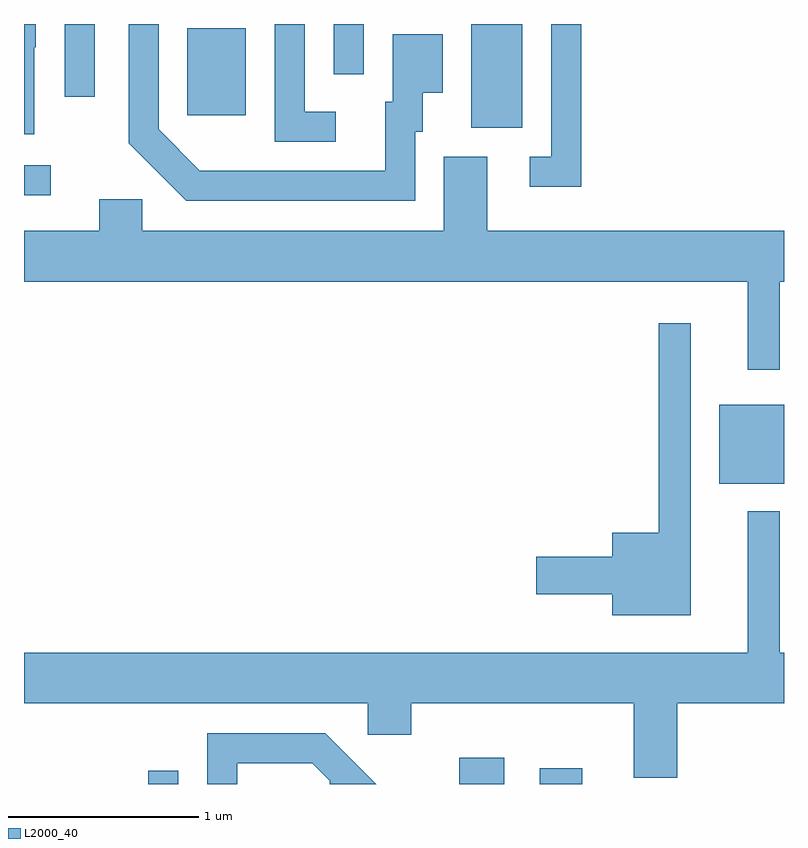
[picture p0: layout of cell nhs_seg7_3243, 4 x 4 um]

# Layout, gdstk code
import gdstk
lib = gdstk.Library(unit=1e-6, precision=1e-09)
def R(c, l, rs):  # rectangles x0, y0, x1, y1
    for r in rs: c.add(gdstk.rectangle(r[:2], r[2:], *l))
def P(c, l, *ps):  # polygons
    for p in ps: c.add(gdstk.Polygon(p, *l))
L2000_40 = (2000, 40)

nhs_seg7_3243 = lib.new_cell('nhs_seg7_3243')
R(nhs_seg7_3243, L2000_40, [(284.266,1798.252,284.424,1798.323), (285.903,1798.252,286.139,1798.389), (286.326,1798.252,286.549,1798.334), (287.271,1799.831,287.611,1800.249), (283.611,1801.351,283.753,1801.509), (285.966,1801.706,286.234,1802.252), (284.471,1801.771,284.779,1802.229), (283.826,1801.868,283.984,1802.252), (285.241,1801.988,285.399,1802.252)])
P(nhs_seg7_3243, L2000_40, [(286.544,1802.252),(286.386,1802.252),(286.386,1801.554),(286.273,1801.554),(286.273,1801.396),(286.544,1801.396)],
  [(285.669,1801.686),(285.709,1801.686),(285.709,1801.891),(285.814,1801.891),(285.814,1802.199),(285.551,1802.199),(285.551,1801.844),(285.511,1801.844),(285.511,1801.479),(284.537,1801.479),(284.319,1801.697),(284.319,1802.252),(284.161,1802.252),(284.161,1801.624),(284.464,1801.321),(285.669,1801.321)],
  [(285.253,1801.789),(285.089,1801.789),(285.089,1802.252),(284.931,1802.252),(284.931,1801.631),(285.253,1801.631)],
  [(283.664,1802.13),(283.674,1802.13),(283.674,1802.252),(283.611,1802.252),(283.611,1801.671),(283.664,1801.671)],
  [(287.589,1800.896),(287.611,1800.896),(287.611,1801.164),(286.049,1801.164),(286.049,1801.554),(285.821,1801.554),(285.821,1801.164),(284.234,1801.164),(284.234,1801.329),(284.006,1801.329),(284.006,1801.164),(283.611,1801.164),(283.611,1800.896),(287.421,1800.896),(287.421,1800.433),(287.589,1800.433)],
  [(287.119,1800.678),(286.951,1800.678),(286.951,1799.574),(286.706,1799.574),(286.706,1799.449),(286.306,1799.449),(286.306,1799.251),(286.706,1799.251),(286.706,1799.141),(287.119,1799.141)],
  [(287.049,1798.676),(287.611,1798.676),(287.611,1798.944),(287.589,1798.944),(287.589,1799.688),(287.421,1799.688),(287.421,1798.944),(283.611,1798.944),(283.611,1798.676),(285.421,1798.676),(285.421,1798.511),(285.649,1798.511),(285.649,1798.676),(286.821,1798.676),(286.821,1798.286),(287.049,1798.286)],
  [(284.734,1798.361),(285.129,1798.361),(285.221,1798.269),(285.221,1798.252),(285.464,1798.252),(285.197,1798.519),(284.576,1798.519),(284.576,1798.252),(284.734,1798.252)])

lib.write_gds('nhs_seg7_3243.gds')
